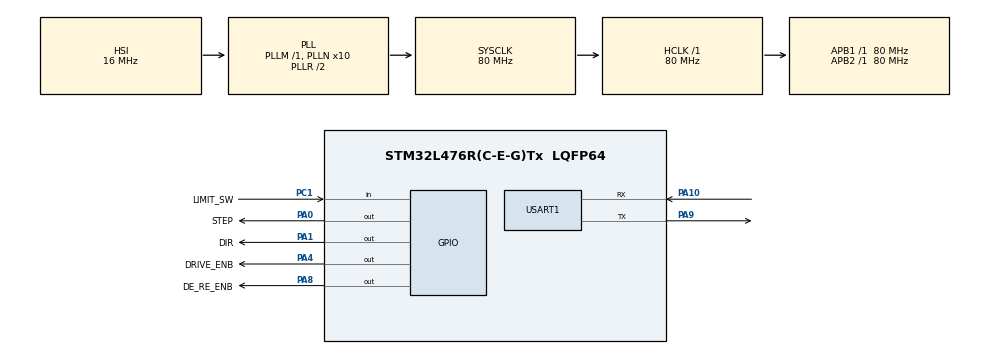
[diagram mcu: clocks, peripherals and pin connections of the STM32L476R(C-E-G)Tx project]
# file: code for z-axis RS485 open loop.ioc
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Mcu.Family=STM32L4
Mcu.Name=STM32L476R(C-E-G)Tx
Mcu.Package=LQFP64
NVIC.PriorityGroup=NVIC_PRIORITYGROUP_4
NVIC.TIM2_IRQn=true\:15\:0\:false\:false\:true\:false\:true\:true
NVIC.TimeBase=TIM2_IRQn
NVIC.TimeBaseIP=TIM2
NVIC.USART1_IRQn=true\:0\:0\:false\:false\:true\:true\:true\:true
PA0.GPIO_Label=STEP
PA0.Signal=GPIO_Output
PA1.GPIO_Label=DIR
PA1.Signal=GPIO_Output
PA10.Mode=Asynchronous
PA10.Signal=USART1_RX
PA13\ (JTMS-SWDIO).Mode=Serial_Wire
PA13\ (JTMS-SWDIO).Signal=SYS_JTMS-SWDIO
PA14\ (JTCK-SWCLK).Mode=Serial_Wire
PA14\ (JTCK-SWCLK).Signal=SYS_JTCK-SWCLK
PA4.GPIO_Label=DRIVE_ENB
PA4.Signal=GPIO_Output
PA8.GPIO_Label=DE_RE_ENB
PA8.Signal=GPIO_Output
PA9.Mode=Asynchronous
PA9.Signal=USART1_TX
PC1.GPIO_Label=LIMIT_SW
PC1.GPIO_PuPd=GPIO_PULLUP
PC1.Signal=GPIO_Input
PH0-OSC_IN\ (PH0).Mode=HSE-External-Oscillator
PH0-OSC_IN\ (PH0).Signal=RCC_OSC_IN
PH1-OSC_OUT\ (PH1).Mode=HSE-External-Oscillator
PH1-OSC_OUT\ (PH1).Signal=RCC_OSC_OUT
ProjectManager.HeapSize=0x200
ProjectManager.StackSize=0x400
ProjectManager.TargetToolchain=STM32CubeIDE
RCC.ADCFreq_Value=64000000
RCC.AHBFreq_Value=80000000
RCC.APB1Freq_Value=80000000
RCC.APB1TimFreq_Value=80000000
RCC.APB2Freq_Value=80000000
RCC.APB2TimFreq_Value=80000000
RCC.CortexFreq_Value=80000000
RCC.HCLKFreq_Value=80000000
RCC.HSE_VALUE=8000000
RCC.HSI_VALUE=16000000
RCC.LSE_VALUE=32768
RCC.MSI_VALUE=4000000
RCC.PLLN=10
RCC.PLLSourceVirtual=RCC_PLLSOURCE_HSI
RCC.PREFETCH_ENABLE=1
RCC.SYSCLKFreq_VALUE=80000000
RCC.SYSCLKSource=RCC_SYSCLKSOURCE_PLLCLK
RCC.USBFreq_Value=64000000
RCC.VCOOutputFreq_Value=160000000
TIM1.Prescaler=80-1
USART1.VirtualMode-Asynchronous=VM_ASYNC
VP_SYS_VS_tim2.Mode=TIM2
VP_TIM1_VS_ClockSourceINT.Mode=Internal
board=NUCLEO-L476RG

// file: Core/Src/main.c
/* USER CODE BEGIN Header */
/**
  ******************************************************************************
  * @file           : main.c
  * @brief          : Main program body
  ******************************************************************************
  * @attention
  *
  * Copyright (c) 2024 STMicroelectronics.
  * All rights reserved.
  *
  * This software is licensed under terms that can be found in the LICENSE file
  * in the root directory of this software component.
  * If no LICENSE file comes with this software, it is provided AS-IS.
  *
  ******************************************************************************
  */
/* USER CODE END Header */
#include "main.h"

/* USER CODE BEGIN Includes */
#include "PlebcStepper.h"
#include "modbus_rtu_slave.h"
#include "stdio.h"
#include "stdint.h"
#include "string.h"
#include "stdlib.h"
/* USER CODE END Includes */

/* USER CODE BEGIN PTD */

// MODBUS
int Slave_ID = 3;

volatile float rpm = 0.00;
float acceleration = 0;
int motorSetSteps = 0; // Steps per revolution of the motor
volatile float velocity = 0.00;
volatile float prev_rpm = 0;
volatile float pully_dia = 0;
float prev_acceleration = 0;

/* USER CODE END PTD */

/* USER CODE BEGIN PD */
/* Pins on Board */
//	PA0 -> STEP/Pulse
//	PA1 -> DIR
//  PA4 -> DRIVE_ENB
//	PC1 -> LIMIT_SW
//	PA9 -> USART1_TX
//	PA10 -> USART1_RX
//  PA8 -> DE_RE_Pin (DE,RE Pin of RS485 module)

/* User Instructions */

/* USER CODE END PD */

TIM_HandleTypeDef htim1;

UART_HandleTypeDef huart1;

void SystemClock_Config(void);
static void MX_GPIO_Init(void);
static void MX_TIM1_Init(void);
static void MX_USART1_UART_Init(void);

/* USER CODE BEGIN 0 */

// Function to start UART reception
void UART_StartReceive(void)
{
  // Enable reception by setting DE and RE pins high
  HAL_GPIO_WritePin(DE_RE_ENB_GPIO_Port, DE_RE_ENB_Pin, GPIO_PIN_RESET);

  HAL_UARTEx_ReceiveToIdle_IT(&huart1, RxData, RX_BUFFER_SIZE);

}

int _write(int file, char *ptr, int len)
{
	int i = 0;
	for(i=0; i<len; i++)

		ITM_SendChar((*ptr++));

	return len;
}
/* USER CODE END 0 */

int main(void)
{

  /* USER CODE BEGIN 1 */
//	rpm 			= Holding_Registers_Database[0];
//	acceleration 	= Holding_Registers_Database[1];
	motorSetSteps 	= Holding_Registers_Database[3];
  /* USER CODE END 1 */

  /* MCU Configuration--------------------------------------------------------*/

  /* Reset of all peripherals, Initializes the Flash interface and the Systick. */
  HAL_Init();

  /* Configure the system clock */
  SystemClock_Config();

  /* Initialize all configured peripherals */
  MX_GPIO_Init();
  MX_TIM1_Init();
  MX_USART1_UART_Init();
  /* USER CODE BEGIN 2 */
  HAL_TIM_Base_Start(&htim1);
  UART_StartReceive();

  // Define motor configurations
  	MotorConfig motor1 = {GPIOA, GPIO_PIN_1, GPIOA, GPIO_PIN_0};
//  	HAL_GPIO_WritePin(GPIOA, DRIVE_ENB_Pin, GPIO_PIN_SET); // Enable the motor driver/

  /* USER CODE END 2 */

  /* Infinite loop */
  /* USER CODE BEGIN WHILE */
  while (1)
  {

		velocity 		= Holding_Registers_Database[0];
		pully_dia		= Holding_Registers_Database[2];
		acceleration	= Holding_Registers_Database[1];
		rpm = (840*velocity)/(44*pully_dia);

		if(rpm != prev_rpm)
		{
		setRPM(rpm, motorSetSteps); // (RPM, Steps)
		prev_rpm = rpm;
		}

		//Reading acceleration value from acceleration holding register
		acceleration = Holding_Registers_Database[1];
		if(acceleration != prev_acceleration)
		{
		setAcceleration(acceleration);
		prev_acceleration = acceleration;
		}

		if(Holding_Registers_Database[4] == 0)
		{
		  motorStop(&motor1);
		  HAL_GPIO_WritePin(GPIOA, DRIVE_ENB_Pin, GPIO_PIN_SET); // disable driver
		}

		else if(Holding_Registers_Database[4] == 1)
		{
			// Set direction pin for forward movement
			HAL_GPIO_WritePin(GPIOA,GPIO_PIN_1, GPIO_PIN_SET);
			HAL_GPIO_WritePin(GPIOA, DRIVE_ENB_Pin, GPIO_PIN_RESET); // Enable driver

		  	// Calculate the new speed and step interval
			unsigned long stepInterval = computeNewSpeed();

			// Generate a step pulse with the calculated interval
			HAL_GPIO_WritePin(GPIOA,GPIO_PIN_0, GPIO_PIN_SET);
			microDelay(stepInterval / 2);  // Half of the interval for the high pulse
			HAL_GPIO_WritePin(GPIOA,GPIO_PIN_0, GPIO_PIN_RESET);
			microDelay(stepInterval / 2);  // Half of the interval for the low pulse
		}

		else if(Holding_Registers_Database[4] == 2)
		{
			// Set direction pin for Backward movement
			HAL_GPIO_WritePin(GPIOA,GPIO_PIN_1, GPIO_PIN_RESET);
			HAL_GPIO_WritePin(GPIOA, DRIVE_ENB_Pin, GPIO_PIN_RESET); // Enable Driver

			// Calculate the new speed and step interval
			unsigned long stepInterval = computeNewSpeed();

			// Generate a step pulse with the calculated interval
			HAL_GPIO_WritePin(GPIOA,GPIO_PIN_0, GPIO_PIN_SET);
			microDelay(stepInterval / 2);  // Half of the interval for the high pulse
			HAL_GPIO_WritePin(GPIOA,GPIO_PIN_0, GPIO_PIN_RESET);
			microDelay(stepInterval / 2);  // Half of the interval for the low pulse
		}

    /* USER CODE END WHILE */

  }
}

void SystemClock_Config(void)
{
  RCC_OscInitTypeDef RCC_OscInitStruct = {0};
  RCC_ClkInitTypeDef RCC_ClkInitStruct = {0};

  /** Configure the main internal regulator output voltage
  */
  if (HAL_PWREx_ControlVoltageScaling(PWR_REGULATOR_VOLTAGE_SCALE1) != HAL_OK)
  {
    Error_Handler();
  }

  /** Initializes the RCC Oscillators according to the specified parameters
  * in the RCC_OscInitTypeDef structure.
  */
  RCC_OscInitStruct.OscillatorType = RCC_OSCILLATORTYPE_HSI;
  RCC_OscInitStruct.HSIState = RCC_HSI_ON;
  RCC_OscInitStruct.HSICalibrationValue = RCC_HSICALIBRATION_DEFAULT;
  RCC_OscInitStruct.PLL.PLLState = RCC_PLL_ON;
  RCC_OscInitStruct.PLL.PLLSource = RCC_PLLSOURCE_HSI;
  RCC_OscInitStruct.PLL.PLLM = 1;
  RCC_OscInitStruct.PLL.PLLN = 10;
  RCC_OscInitStruct.PLL.PLLP = RCC_PLLP_DIV7;
  RCC_OscInitStruct.PLL.PLLQ = RCC_PLLQ_DIV2;
  RCC_OscInitStruct.PLL.PLLR = RCC_PLLR_DIV2;
  if (HAL_RCC_OscConfig(&RCC_OscInitStruct) != HAL_OK)
  {
    Error_Handler();
  }

  /** Initializes the CPU, AHB and APB buses clocks
  */
  RCC_ClkInitStruct.ClockType = RCC_CLOCKTYPE_HCLK|RCC_CLOCKTYPE_SYSCLK
                              |RCC_CLOCKTYPE_PCLK1|RCC_CLOCKTYPE_PCLK2;
  RCC_ClkInitStruct.SYSCLKSource = RCC_SYSCLKSOURCE_PLLCLK;
  RCC_ClkInitStruct.AHBCLKDivider = RCC_SYSCLK_DIV1;
  RCC_ClkInitStruct.APB1CLKDivider = RCC_HCLK_DIV1;
  RCC_ClkInitStruct.APB2CLKDivider = RCC_HCLK_DIV1;

  if (HAL_RCC_ClockConfig(&RCC_ClkInitStruct, FLASH_LATENCY_4) != HAL_OK)
  {
    Error_Handler();
  }
}

static void MX_TIM1_Init(void)
{

  TIM_ClockConfigTypeDef sClockSourceConfig = {0};
  TIM_MasterConfigTypeDef sMasterConfig = {0};

  htim1.Instance = TIM1;
  htim1.Init.Prescaler = 80-1;
  htim1.Init.CounterMode = TIM_COUNTERMODE_UP;
  htim1.Init.Period = 65535;
  htim1.Init.ClockDivision = TIM_CLOCKDIVISION_DIV1;
  htim1.Init.RepetitionCounter = 0;
  htim1.Init.AutoReloadPreload = TIM_AUTORELOAD_PRELOAD_DISABLE;
  if (HAL_TIM_Base_Init(&htim1) != HAL_OK)
  {
    Error_Handler();
  }
  sClockSourceConfig.ClockSource = TIM_CLOCKSOURCE_INTERNAL;
  if (HAL_TIM_ConfigClockSource(&htim1, &sClockSourceConfig) != HAL_OK)
  {
    Error_Handler();
  }
  sMasterConfig.MasterOutputTrigger = TIM_TRGO_RESET;
  sMasterConfig.MasterOutputTrigger2 = TIM_TRGO2_RESET;
  sMasterConfig.MasterSlaveMode = TIM_MASTERSLAVEMODE_DISABLE;
  if (HAL_TIMEx_MasterConfigSynchronization(&htim1, &sMasterConfig) != HAL_OK)
  {
    Error_Handler();
  }

}

static void MX_USART1_UART_Init(void)
{

  huart1.Instance = USART1;
  huart1.Init.BaudRate = 115200;
  huart1.Init.WordLength = UART_WORDLENGTH_8B;
  huart1.Init.StopBits = UART_STOPBITS_1;
  huart1.Init.Parity = UART_PARITY_NONE;
  huart1.Init.Mode = UART_MODE_TX_RX;
  huart1.Init.HwFlowCtl = UART_HWCONTROL_NONE;
  huart1.Init.OverSampling = UART_OVERSAMPLING_16;
  huart1.Init.OneBitSampling = UART_ONE_BIT_SAMPLE_DISABLE;
  huart1.AdvancedInit.AdvFeatureInit = UART_ADVFEATURE_NO_INIT;
  if (HAL_UART_Init(&huart1) != HAL_OK)
  {
    Error_Handler();
  }

}

static void MX_GPIO_Init(void)
{
  GPIO_InitTypeDef GPIO_InitStruct = {0};

  /* GPIO Ports Clock Enable */
  __HAL_RCC_GPIOH_CLK_ENABLE();
  __HAL_RCC_GPIOC_CLK_ENABLE();
  __HAL_RCC_GPIOA_CLK_ENABLE();

  /*Configure GPIO pin Output Level */
  HAL_GPIO_WritePin(GPIOA, STEP_Pin|DIR_Pin|DRIVE_ENB_Pin|DE_RE_ENB_Pin, GPIO_PIN_RESET);

  /*Configure GPIO pin : LIMIT_SW_Pin */
  GPIO_InitStruct.Pin = LIMIT_SW_Pin;
  GPIO_InitStruct.Mode = GPIO_MODE_INPUT;
  GPIO_InitStruct.Pull = GPIO_PULLUP;
  HAL_GPIO_Init(LIMIT_SW_GPIO_Port, &GPIO_InitStruct);

  /*Configure GPIO pins : STEP_Pin DIR_Pin DRIVE_ENB_Pin DE_RE_ENB_Pin */
  GPIO_InitStruct.Pin = STEP_Pin|DIR_Pin|DRIVE_ENB_Pin|DE_RE_ENB_Pin;
  GPIO_InitStruct.Mode = GPIO_MODE_OUTPUT_PP;
  GPIO_InitStruct.Pull = GPIO_NOPULL;
  GPIO_InitStruct.Speed = GPIO_SPEED_FREQ_LOW;
  HAL_GPIO_Init(GPIOA, &GPIO_InitStruct);

}

void HAL_TIM_PeriodElapsedCallback(TIM_HandleTypeDef *htim)
{
  if (htim->Instance == TIM2) {
    HAL_IncTick();
  }
}

void Error_Handler(void)
{
  __disable_irq();
  while (1)
  {
  }
}
